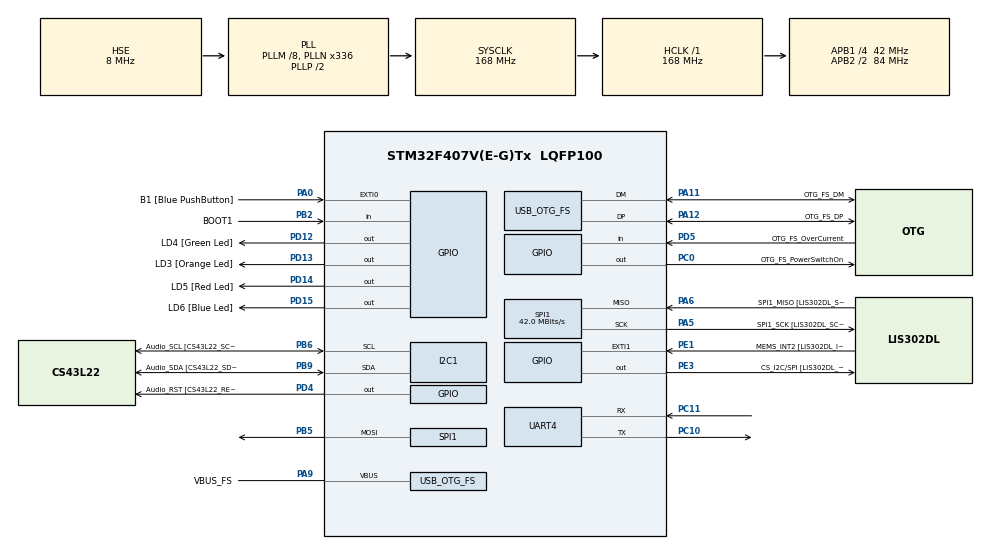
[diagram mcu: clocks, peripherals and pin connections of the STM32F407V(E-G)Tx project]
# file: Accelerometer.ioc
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Mcu.Family=STM32F4
Mcu.Name=STM32F407V(E-G)Tx
Mcu.Package=LQFP100
NVIC.OTG_FS_IRQn=true\:0\:0\:false\:false\:true\:true\:true
NVIC.PriorityGroup=NVIC_PRIORITYGROUP_0
NVIC.TIM2_IRQn=true\:0\:0\:false\:false\:true\:true\:true
NVIC.UART4_IRQn=true\:0\:0\:false\:false\:true\:true\:true
PA0-WKUP.GPIO_Label=B1 [Blue PushButton]
PA0-WKUP.GPIO_ModeDefaultEXTI=GPIO_MODE_EVT_RISING
PA0-WKUP.GPIO_PuPd=GPIO_NOPULL
PA0-WKUP.Signal=GPXTI0
PA10.GPIO_Label=OTG_FS_ID
PA10.GPIO_Mode=GPIO_MODE_AF_PP
PA10.GPIO_PuPd=GPIO_NOPULL
PA10.GPIO_Speed=GPIO_SPEED_FREQ_LOW
PA10.Signal=USB_OTG_FS_ID
PA11.GPIO_Label=OTG_FS_DM
PA11.GPIO_Mode=GPIO_MODE_AF_PP
PA11.GPIO_PuPd=GPIO_NOPULL
PA11.GPIO_Speed=GPIO_SPEED_FREQ_LOW
PA11.Mode=Host_Only
PA11.Signal=USB_OTG_FS_DM
PA12.GPIO_Label=OTG_FS_DP
PA12.GPIO_Mode=GPIO_MODE_AF_PP
PA12.GPIO_PuPd=GPIO_NOPULL
PA12.GPIO_Speed=GPIO_SPEED_FREQ_LOW
PA12.Mode=Host_Only
PA12.Signal=USB_OTG_FS_DP
PA13.GPIO_Label=SWDIO
PA13.Mode=Serial_Wire
PA13.Signal=SYS_JTMS-SWDIO
PA14.GPIO_Label=SWCLK
PA14.Mode=Serial_Wire
PA14.Signal=SYS_JTCK-SWCLK
PA4.GPIO_Label=I2S3_WS [CS43L22_LRCK]
PA4.GPIO_Mode=GPIO_MODE_AF_PP
PA4.GPIO_PuPd=GPIO_NOPULL
PA4.GPIO_Speed=GPIO_SPEED_FREQ_LOW
PA4.Signal=I2S3_WS
PA5.GPIO_Label=SPI1_SCK [LIS302DL_SCL/SPC]
PA5.GPIO_Mode=GPIO_MODE_AF_PP
PA5.GPIO_PuPd=GPIO_NOPULL
PA5.GPIO_Speed=GPIO_SPEED_FREQ_LOW
PA5.Mode=Full_Duplex_Master
PA5.Signal=SPI1_SCK
PA6.GPIO_Label=SPI1_MISO [LIS302DL_SDO]
PA6.GPIO_Mode=GPIO_MODE_AF_PP
PA6.GPIO_PuPd=GPIO_NOPULL
PA6.GPIO_Speed=GPIO_SPEED_FREQ_LOW
PA6.Mode=Full_Duplex_Master
PA6.Signal=SPI1_MISO
PA9.GPIO_Label=VBUS_FS
PA9.GPIO_Mode=GPIO_MODE_INPUT
PA9.GPIO_PuPd=GPIO_NOPULL
PA9.Mode=Activate_VBUS
PA9.Signal=USB_OTG_FS_VBUS
PB10.GPIO_Label=CLK_IN [MP45DT02_CLK]
PB10.GPIO_Mode=GPIO_MODE_AF_PP
PB10.GPIO_PuPd=GPIO_NOPULL
PB10.GPIO_Speed=GPIO_SPEED_FREQ_LOW
PB10.Signal=I2S2_CK
PB2.GPIO_Label=BOOT1
PB2.GPIO_Mode=GPIO_MODE_INPUT
PB2.GPIO_PuPd=GPIO_NOPULL
PB2.Signal=GPIO_Input
PB3.GPIO_Label=SWO
PB3.Signal=SYS_JTDO-SWO
PB5.Mode=Full_Duplex_Master
PB5.Signal=SPI1_MOSI
PB6.GPIO_Label=Audio_SCL [CS43L22_SCL]
PB6.GPIO_Mode=GPIO_MODE_AF_OD
PB6.GPIO_PuPd=GPIO_NOPULL
PB6.GPIO_Speed=GPIO_SPEED_FREQ_LOW
PB6.Mode=I2C
PB6.Signal=I2C1_SCL
PB9.GPIO_Label=Audio_SDA [CS43L22_SDA]
PB9.GPIO_Mode=GPIO_MODE_AF_OD
PB9.GPIO_PuPd=GPIO_NOPULL
PB9.GPIO_Speed=GPIO_SPEED_FREQ_LOW
PB9.Mode=I2C
PB9.Signal=I2C1_SDA
PC0.GPIO_Label=OTG_FS_PowerSwitchOn
PC0.GPIO_PuPd=GPIO_NOPULL
PC0.GPIO_Speed=GPIO_SPEED_FREQ_LOW
PC0.PinState=GPIO_PIN_SET
PC0.Signal=GPIO_Output
PC10.Mode=Asynchronous
PC10.Signal=UART4_TX
PC11.Mode=Asynchronous
PC11.Signal=UART4_RX
PC14-OSC32_IN.GPIO_Label=PC14-OSC32_IN
PC14-OSC32_IN.Mode=LSE-External-Oscillator
PC14-OSC32_IN.Signal=RCC_OSC32_IN
PC15-OSC32_OUT.GPIO_Label=PC15-OSC32_OUT
PC15-OSC32_OUT.Mode=LSE-External-Oscillator
PC15-OSC32_OUT.Signal=RCC_OSC32_OUT
PC3.GPIO_Label=PDM_OUT [MP45DT02_DOUT]
PC3.GPIO_Mode=GPIO_MODE_AF_PP
PC3.GPIO_PuPd=GPIO_NOPULL
PC3.GPIO_Speed=GPIO_SPEED_FREQ_LOW
PC3.Signal=I2S2_SD
PC7.GPIO_Label=I2S3_MCK [CS43L22_MCLK]
PC7.GPIO_Mode=GPIO_MODE_AF_PP
PC7.GPIO_PuPd=GPIO_NOPULL
PC7.GPIO_Speed=GPIO_SPEED_FREQ_LOW
PC7.Signal=I2S3_MCK
PD12.GPIO_Label=LD4 [Green Led]
PD12.GPIO_PuPd=GPIO_NOPULL
PD12.GPIO_Speed=GPIO_SPEED_FREQ_LOW
PD12.Signal=GPIO_Output
PD13.GPIO_Label=LD3 [Orange Led]
PD13.GPIO_PuPd=GPIO_NOPULL
PD13.GPIO_Speed=GPIO_SPEED_FREQ_LOW
PD13.Signal=GPIO_Output
PD14.GPIO_Label=LD5 [Red Led]
PD14.GPIO_PuPd=GPIO_NOPULL
PD14.GPIO_Speed=GPIO_SPEED_FREQ_LOW
PD14.Signal=GPIO_Output
PD15.GPIO_Label=LD6 [Blue Led]
PD15.GPIO_PuPd=GPIO_NOPULL
PD15.GPIO_Speed=GPIO_SPEED_FREQ_LOW
PD15.Signal=GPIO_Output
PD4.GPIO_Label=Audio_RST [CS43L22_RESET]
PD4.GPIO_PuPd=GPIO_NOPULL
PD4.GPIO_Speed=GPIO_SPEED_FREQ_LOW
PD4.Signal=GPIO_Output
PD5.GPIO_Label=OTG_FS_OverCurrent
PD5.GPIO_Mode=GPIO_MODE_INPUT
PD5.GPIO_PuPd=GPIO_NOPULL
PD5.Signal=GPIO_Input
PE1.GPIO_Label=MEMS_INT2 [LIS302DL_INT2]
PE1.GPIO_ModeDefaultEXTI=GPIO_MODE_EVT_RISING
PE1.GPIO_PuPd=GPIO_NOPULL
PE1.Signal=GPXTI1
PE3.GPIO_Label=CS_I2C/SPI [LIS302DL_CS_I2C/SPI]
PE3.GPIO_PuPd=GPIO_NOPULL
PE3.GPIO_Speed=GPIO_SPEED_FREQ_LOW
PE3.Signal=GPIO_Output
PH0-OSC_IN.GPIO_Label=PH0-OSC_IN
PH0-OSC_IN.Mode=HSE-External-Oscillator
PH0-OSC_IN.Signal=RCC_OSC_IN
PH1-OSC_OUT.GPIO_Label=PH1-OSC_OUT
PH1-OSC_OUT.Mode=HSE-External-Oscillator
PH1-OSC_OUT.Signal=RCC_OSC_OUT
ProjectManager.HeapSize=0x200
ProjectManager.StackSize=0x400
ProjectManager.TargetToolchain=STM32CubeIDE
RCC.48MHZClocksFreq_Value=48000000
RCC.AHBFreq_Value=168000000
RCC.APB1CLKDivider=RCC_HCLK_DIV4
RCC.APB1Freq_Value=42000000
RCC.APB1TimFreq_Value=84000000
RCC.APB2CLKDivider=RCC_HCLK_DIV2
RCC.APB2Freq_Value=84000000
RCC.APB2TimFreq_Value=168000000
RCC.CortexFreq_Value=168000000
RCC.HCLKFreq_Value=168000000
RCC.HSE_VALUE=8000000
RCC.HSI_VALUE=16000000
RCC.PLLM=8
RCC.PLLN=336
RCC.PLLQ=7
RCC.SYSCLKFreq_VALUE=168000000
RCC.SYSCLKSource=RCC_SYSCLKSOURCE_PLLCLK
RCC.VCOOutputFreq_Value=336000000
SPI1.CalculateBaudRate=42.0 MBits/s
SPI1.Direction=SPI_DIRECTION_2LINES
SPI1.Mode=SPI_MODE_MASTER
SPI1.VirtualType=VM_MASTER
TIM2.Period=4999
TIM2.Prescaler=8399
UART4.VirtualMode=Asynchronous
USB_HOST.BSP.number=1
USB_HOST.USBH_HandleTypeDef-CDC_FS=hUsbHostFS
USB_HOST.VirtualModeFS=Cdc
USB_HOST0.BSP.STBoard=false
USB_HOST0.BSP.api=Unknown
USB_HOST0.BSP.i2caddr=0
USB_HOST0.BSP.i2creg=0
USB_HOST0.BSP.instance=PC0
USB_HOST0.BSP.ip=GPIO
USB_HOST0.BSP.mode=Output
USB_HOST0.BSP.name=Drive_VBUS_FS
USB_HOST0.BSP.solution=PC0
USB_OTG_FS.VirtualMode=Host_Only
USB_OTG_FS.phy_itface=HCD_PHY_EMBEDDED
VP_TIM2_VS_ClockSourceINT.Mode=Internal
VP_USB_HOST_VS_USB_HOST_CDC_FS.Mode=CDC_FS
board=STM32F407G-DISC1

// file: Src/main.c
/* USER CODE BEGIN Header */
/**
 ******************************************************************************
 * @file           : main.c
 * @brief          : Main program body
 ******************************************************************************
 * @attention
 *
 * <h2><center>&copy; Copyright (c) 2019 STMicroelectronics.
 * All rights reserved.</center></h2>
 *
 * This software component is licensed by ST under Ultimate Liberty license
 * SLA0044, the "License"; You may not use this file except in compliance with
 * the License. You may obtain a copy of the License at:
 *                             www.st.com/SLA0044
 *
 ******************************************************************************
 */
/* USER CODE END Header */

#include "main.h"
#include "usb_host.h"

I2C_HandleTypeDef hi2c1;

SPI_HandleTypeDef hspi1;

TIM_HandleTypeDef htim2;

UART_HandleTypeDef huart4;

/* USER CODE BEGIN PV */
int16_t xval, yval = 0x00;
event e;
/* USER CODE END PV */

void SystemClock_Config(void);
static void MX_GPIO_Init(void);
static void MX_I2C1_Init(void);
static void MX_UART4_Init(void);
static void MX_SPI1_Init(void);
static void MX_TIM2_Init(void);
void MX_USB_HOST_Process(void);

/* USER CODE BEGIN 0 */

static void init_acc_mode(){
	BSP_LED_Off(LED3);
	BSP_LED_Off(LED4);
	BSP_LED_Off(LED5);
	BSP_LED_Off(LED6);
}

static void loop_acc_mode(){

	ACCELERO_Read_Acc(&xval,&yval);

	if((ABS(xval))>(ABS(yval)))
	  {
	    if(xval > ThresholdHigh)
	    {
	      /* LED5 On */
	      BSP_LED_On(LED5);
	      HAL_UART_Transmit( &huart4, "L", 1, 1000 );
	      HAL_Delay(10);
	    }
	    else if(xval < ThresholdLow)
	    {
	      /* LED4 On */
	      BSP_LED_On(LED4);
	      HAL_UART_Transmit( &huart4, "R", 1, 1000 );
	      HAL_Delay(10);
	    }
	    else
	    {
	      HAL_Delay(10);
	    }
	  }
	  else
	  {
	    if(yval < ThresholdLow)
	    {
	      /* LED6 On */
	      BSP_LED_On(LED6);
	      HAL_UART_Transmit( &huart4, "T", 1, 1000 );
	      HAL_Delay(10);
	    }
	    else if(yval > ThresholdHigh)
	    {
	      /* LED3 On */
	      BSP_LED_On(LED3);
	      HAL_UART_Transmit( &huart4, "B", 1, 1000 );
	      HAL_Delay(10);
	    }
	    else
	    {
	      HAL_Delay(10);
	    }
	  }

	  BSP_LED_Off(LED3);
	  BSP_LED_Off(LED4);
	  BSP_LED_Off(LED5);
	  BSP_LED_Off(LED6);
}

/* USER CODE END 0 */

int main(void)
{

  /* MCU Configuration--------------------------------------------------------*/

  /* Reset of all peripherals, Initializes the Flash interface and the Systick. */
  HAL_Init();

  /* USER CODE BEGIN Init */
  event_init( &e );
  /* USER CODE END Init */

  /* Configure the system clock */
  SystemClock_Config();

  /* Initialize all configured peripherals */
  MX_GPIO_Init();
  MX_I2C1_Init();
  MX_USB_HOST_Init();
  MX_UART4_Init();
  MX_SPI1_Init();
  MX_TIM2_Init();
  /* USER CODE BEGIN 2 */
	HAL_TIM_Base_Start_IT( &htim2 );
	init_acc_mode();
  /* USER CODE END 2 */

  /* Infinite loop */
	while (1)
	{
    MX_USB_HOST_Process();

    /* USER CODE BEGIN 3 */
	loop_acc_mode();

	}
  /* USER CODE END 3 */
}

void SystemClock_Config(void)
{
  RCC_OscInitTypeDef RCC_OscInitStruct = {0};
  RCC_ClkInitTypeDef RCC_ClkInitStruct = {0};

  /** Configure the main internal regulator output voltage
  */
  __HAL_RCC_PWR_CLK_ENABLE();
  __HAL_PWR_VOLTAGESCALING_CONFIG(PWR_REGULATOR_VOLTAGE_SCALE1);
  /** Initializes the CPU, AHB and APB busses clocks
  */
  RCC_OscInitStruct.OscillatorType = RCC_OSCILLATORTYPE_HSE;
  RCC_OscInitStruct.HSEState = RCC_HSE_ON;
  RCC_OscInitStruct.PLL.PLLState = RCC_PLL_ON;
  RCC_OscInitStruct.PLL.PLLSource = RCC_PLLSOURCE_HSE;
  RCC_OscInitStruct.PLL.PLLM = 8;
  RCC_OscInitStruct.PLL.PLLN = 336;
  RCC_OscInitStruct.PLL.PLLP = RCC_PLLP_DIV2;
  RCC_OscInitStruct.PLL.PLLQ = 7;
  if (HAL_RCC_OscConfig(&RCC_OscInitStruct) != HAL_OK)
  {
    Error_Handler();
  }
  /** Initializes the CPU, AHB and APB busses clocks
  */
  RCC_ClkInitStruct.ClockType = RCC_CLOCKTYPE_HCLK|RCC_CLOCKTYPE_SYSCLK
                              |RCC_CLOCKTYPE_PCLK1|RCC_CLOCKTYPE_PCLK2;
  RCC_ClkInitStruct.SYSCLKSource = RCC_SYSCLKSOURCE_PLLCLK;
  RCC_ClkInitStruct.AHBCLKDivider = RCC_SYSCLK_DIV1;
  RCC_ClkInitStruct.APB1CLKDivider = RCC_HCLK_DIV4;
  RCC_ClkInitStruct.APB2CLKDivider = RCC_HCLK_DIV2;

  if (HAL_RCC_ClockConfig(&RCC_ClkInitStruct, FLASH_LATENCY_5) != HAL_OK)
  {
    Error_Handler();
  }
}

static void MX_I2C1_Init(void)
{

  hi2c1.Instance = I2C1;
  hi2c1.Init.ClockSpeed = 100000;
  hi2c1.Init.DutyCycle = I2C_DUTYCYCLE_2;
  hi2c1.Init.OwnAddress1 = 0;
  hi2c1.Init.AddressingMode = I2C_ADDRESSINGMODE_7BIT;
  hi2c1.Init.DualAddressMode = I2C_DUALADDRESS_DISABLE;
  hi2c1.Init.OwnAddress2 = 0;
  hi2c1.Init.GeneralCallMode = I2C_GENERALCALL_DISABLE;
  hi2c1.Init.NoStretchMode = I2C_NOSTRETCH_DISABLE;
  if (HAL_I2C_Init(&hi2c1) != HAL_OK)
  {
    Error_Handler();
  }

}

static void MX_SPI1_Init(void)
{

  /* SPI1 parameter configuration*/
  hspi1.Instance = SPI1;
  hspi1.Init.Mode = SPI_MODE_MASTER;
  hspi1.Init.Direction = SPI_DIRECTION_2LINES;
  hspi1.Init.DataSize = SPI_DATASIZE_8BIT;
  hspi1.Init.CLKPolarity = SPI_POLARITY_LOW;
  hspi1.Init.CLKPhase = SPI_PHASE_1EDGE;
  hspi1.Init.NSS = SPI_NSS_SOFT;
  hspi1.Init.BaudRatePrescaler = SPI_BAUDRATEPRESCALER_2;
  hspi1.Init.FirstBit = SPI_FIRSTBIT_MSB;
  hspi1.Init.TIMode = SPI_TIMODE_DISABLE;
  hspi1.Init.CRCCalculation = SPI_CRCCALCULATION_DISABLE;
  hspi1.Init.CRCPolynomial = 10;
  if (HAL_SPI_Init(&hspi1) != HAL_OK)
  {
    Error_Handler();
  }

}

static void MX_TIM2_Init(void)
{

  TIM_ClockConfigTypeDef sClockSourceConfig = {0};
  TIM_MasterConfigTypeDef sMasterConfig = {0};

  htim2.Instance = TIM2;
  htim2.Init.Prescaler = 8399;
  htim2.Init.CounterMode = TIM_COUNTERMODE_UP;
  htim2.Init.Period = 4999;
  htim2.Init.ClockDivision = TIM_CLOCKDIVISION_DIV1;
  htim2.Init.AutoReloadPreload = TIM_AUTORELOAD_PRELOAD_DISABLE;
  if (HAL_TIM_Base_Init(&htim2) != HAL_OK)
  {
    Error_Handler();
  }
  sClockSourceConfig.ClockSource = TIM_CLOCKSOURCE_INTERNAL;
  if (HAL_TIM_ConfigClockSource(&htim2, &sClockSourceConfig) != HAL_OK)
  {
    Error_Handler();
  }
  sMasterConfig.MasterOutputTrigger = TIM_TRGO_RESET;
  sMasterConfig.MasterSlaveMode = TIM_MASTERSLAVEMODE_DISABLE;
  if (HAL_TIMEx_MasterConfigSynchronization(&htim2, &sMasterConfig) != HAL_OK)
  {
    Error_Handler();
  }

}

static void MX_UART4_Init(void)
{

  huart4.Instance = UART4;
  huart4.Init.BaudRate = 115200;
  huart4.Init.WordLength = UART_WORDLENGTH_8B;
  huart4.Init.StopBits = UART_STOPBITS_1;
  huart4.Init.Parity = UART_PARITY_NONE;
  huart4.Init.Mode = UART_MODE_TX_RX;
  huart4.Init.HwFlowCtl = UART_HWCONTROL_NONE;
  huart4.Init.OverSampling = UART_OVERSAMPLING_16;
  if (HAL_UART_Init(&huart4) != HAL_OK)
  {
    Error_Handler();
  }

}

static void MX_GPIO_Init(void)
{
  GPIO_InitTypeDef GPIO_InitStruct = {0};

  /* GPIO Ports Clock Enable */
  __HAL_RCC_GPIOE_CLK_ENABLE();
  __HAL_RCC_GPIOC_CLK_ENABLE();
  __HAL_RCC_GPIOH_CLK_ENABLE();
  __HAL_RCC_GPIOA_CLK_ENABLE();
  __HAL_RCC_GPIOB_CLK_ENABLE();
  __HAL_RCC_GPIOD_CLK_ENABLE();

  /*Configure GPIO pin Output Level */
  HAL_GPIO_WritePin(CS_I2C_SPI_GPIO_Port, CS_I2C_SPI_Pin, GPIO_PIN_RESET);

  /*Configure GPIO pin Output Level */
  HAL_GPIO_WritePin(OTG_FS_PowerSwitchOn_GPIO_Port, OTG_FS_PowerSwitchOn_Pin, GPIO_PIN_SET);

  /*Configure GPIO pin Output Level */
  HAL_GPIO_WritePin(GPIOD, LD4_Pin|LD3_Pin|LD5_Pin|LD6_Pin
                          |Audio_RST_Pin, GPIO_PIN_RESET);

  /*Configure GPIO pin : CS_I2C_SPI_Pin */
  GPIO_InitStruct.Pin = CS_I2C_SPI_Pin;
  GPIO_InitStruct.Mode = GPIO_MODE_OUTPUT_PP;
  GPIO_InitStruct.Pull = GPIO_NOPULL;
  GPIO_InitStruct.Speed = GPIO_SPEED_FREQ_LOW;
  HAL_GPIO_Init(CS_I2C_SPI_GPIO_Port, &GPIO_InitStruct);

  /*Configure GPIO pin : OTG_FS_PowerSwitchOn_Pin */
  GPIO_InitStruct.Pin = OTG_FS_PowerSwitchOn_Pin;
  GPIO_InitStruct.Mode = GPIO_MODE_OUTPUT_PP;
  GPIO_InitStruct.Pull = GPIO_NOPULL;
  GPIO_InitStruct.Speed = GPIO_SPEED_FREQ_LOW;
  HAL_GPIO_Init(OTG_FS_PowerSwitchOn_GPIO_Port, &GPIO_InitStruct);

  /*Configure GPIO pin : PDM_OUT_Pin */
  GPIO_InitStruct.Pin = PDM_OUT_Pin;
  GPIO_InitStruct.Mode = GPIO_MODE_AF_PP;
  GPIO_InitStruct.Pull = GPIO_NOPULL;
  GPIO_InitStruct.Speed = GPIO_SPEED_FREQ_LOW;
  GPIO_InitStruct.Alternate = GPIO_AF5_SPI2;
  HAL_GPIO_Init(PDM_OUT_GPIO_Port, &GPIO_InitStruct);

  /*Configure GPIO pin : B1_Pin */
  GPIO_InitStruct.Pin = B1_Pin;
  GPIO_InitStruct.Mode = GPIO_MODE_EVT_RISING;
  GPIO_InitStruct.Pull = GPIO_NOPULL;
  HAL_GPIO_Init(B1_GPIO_Port, &GPIO_InitStruct);

  /*Configure GPIO pin : I2S3_WS_Pin */
  GPIO_InitStruct.Pin = I2S3_WS_Pin;
  GPIO_InitStruct.Mode = GPIO_MODE_AF_PP;
  GPIO_InitStruct.Pull = GPIO_NOPULL;
  GPIO_InitStruct.Speed = GPIO_SPEED_FREQ_LOW;
  GPIO_InitStruct.Alternate = GPIO_AF6_SPI3;
  HAL_GPIO_Init(I2S3_WS_GPIO_Port, &GPIO_InitStruct);

  /*Configure GPIO pin : BOOT1_Pin */
  GPIO_InitStruct.Pin = BOOT1_Pin;
  GPIO_InitStruct.Mode = GPIO_MODE_INPUT;
  GPIO_InitStruct.Pull = GPIO_NOPULL;
  HAL_GPIO_Init(BOOT1_GPIO_Port, &GPIO_InitStruct);

  /*Configure GPIO pin : CLK_IN_Pin */
  GPIO_InitStruct.Pin = CLK_IN_Pin;
  GPIO_InitStruct.Mode = GPIO_MODE_AF_PP;
  GPIO_InitStruct.Pull = GPIO_NOPULL;
  GPIO_InitStruct.Speed = GPIO_SPEED_FREQ_LOW;
  GPIO_InitStruct.Alternate = GPIO_AF5_SPI2;
  HAL_GPIO_Init(CLK_IN_GPIO_Port, &GPIO_InitStruct);

  /*Configure GPIO pins : LD4_Pin LD3_Pin LD5_Pin LD6_Pin
                           Audio_RST_Pin */
  GPIO_InitStruct.Pin = LD4_Pin|LD3_Pin|LD5_Pin|LD6_Pin
                          |Audio_RST_Pin;
  GPIO_InitStruct.Mode = GPIO_MODE_OUTPUT_PP;
  GPIO_InitStruct.Pull = GPIO_NOPULL;
  GPIO_InitStruct.Speed = GPIO_SPEED_FREQ_LOW;
  HAL_GPIO_Init(GPIOD, &GPIO_InitStruct);

  /*Configure GPIO pin : I2S3_MCK_Pin */
  GPIO_InitStruct.Pin = I2S3_MCK_Pin;
  GPIO_InitStruct.Mode = GPIO_MODE_AF_PP;
  GPIO_InitStruct.Pull = GPIO_NOPULL;
  GPIO_InitStruct.Speed = GPIO_SPEED_FREQ_LOW;
  GPIO_InitStruct.Alternate = GPIO_AF6_SPI3;
  HAL_GPIO_Init(I2S3_MCK_GPIO_Port, &GPIO_InitStruct);

  /*Configure GPIO pin : OTG_FS_OverCurrent_Pin */
  GPIO_InitStruct.Pin = OTG_FS_OverCurrent_Pin;
  GPIO_InitStruct.Mode = GPIO_MODE_INPUT;
  GPIO_InitStruct.Pull = GPIO_NOPULL;
  HAL_GPIO_Init(OTG_FS_OverCurrent_GPIO_Port, &GPIO_InitStruct);

  /*Configure GPIO pin : MEMS_INT2_Pin */
  GPIO_InitStruct.Pin = MEMS_INT2_Pin;
  GPIO_InitStruct.Mode = GPIO_MODE_EVT_RISING;
  GPIO_InitStruct.Pull = GPIO_NOPULL;
  HAL_GPIO_Init(MEMS_INT2_GPIO_Port, &GPIO_InitStruct);

}

void Error_Handler(void)
{
}

/************************ (C) COPYRIGHT STMicroelectronics *****END OF FILE****/
